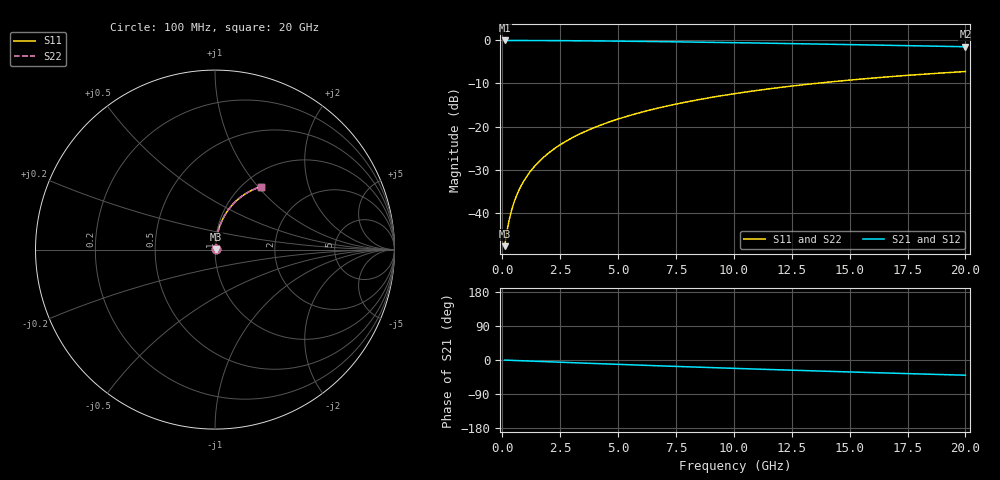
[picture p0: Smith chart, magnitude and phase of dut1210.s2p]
! Touchstone file exported from HFSS 2024.1.0
!  File:  C:/UserFiles/LocalFiles/RDL_TSV_Batchsim/temp_RDL_bottom_1210_1780243661.aedt
!  Generated:  12:10:35 AM Jun  1, 2026
!  Design:  RDL_bottom
!  Project:  temp_RDL_bottom_1210_1780243661
!  Setup:  Setup1
!  Solution:  Sweep
! Variables:
!  dtsv = 10.80580581um
!  hbump = 3um
!  htsv = 90.83um
!  ldown = 517.81um
!  lrdl = 100um
!  p = 40
!  p1 = 51.75um
!  rhole = 1um
!  t = 450um
!  tdown = 3.99um
!  trdl = 3.915915916um
!  wdown = 14.84um
!  wrdl = 20um
# GHz S MA R 50.000000
! Terminal data exported
! Port[1] = RDL1_T1
! Port[2] = RDL1_T2
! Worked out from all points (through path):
!   200 points, 100 MHz to 20 GHz, reference 50 ohm
!   highest |S21| = -0.03 dB at 100 MHz (marker M1); lowest = -1.5 dB at 20 GHz (marker M2)
!   group delay of S21, straight-line fit = 5.56 ps
!   lowest |S11| = -47.7 dB at 100 MHz (marker M3), VSWR 1.01, Z = 50.3 + j0.258 ohm
!   |S11| at or under -10 dB: start of sweep to 13.51 GHz
!   |S22| runs from -47.7 to -7.2 dB; largest |S21 - S12| = 3.5e-15
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0.1  0.004107 38.7  0.9968 -0.2  0.9968 -0.2  0.004107 38.7
! Gamma 0 0 0 0
! Port Impedance 50 0 50 0
0.2  0.006078 57.2  0.9967 -0.5  0.9967 -0.5  0.006078 57.2
0.3  0.008344 65.9  0.9966 -0.7  0.9966 -0.7  0.008344 65.9
0.4  0.01069 70.6  0.9964 -1.0  0.9964 -1.0  0.01069 70.6
0.5  0.01307 73.6  0.9963 -1.2  0.9963 -1.2  0.01307 73.6
0.6  0.01545 75.6  0.9962 -1.4  0.9962 -1.4  0.01545 75.6
0.8  0.02025 78.2  0.9959 -1.9  0.9959 -1.9  0.02025 78.2
1.1  0.02748 80.3  0.9954 -2.6  0.9954 -2.6  0.02748 80.3
1.5  0.03717 81.6  0.9946 -3.5  0.9946 -3.5  0.03717 81.6
1.8  0.04447 82.0  0.9938 -4.2  0.9938 -4.2  0.04447 82.0
2.1  0.05177 82.1  0.9929 -4.9  0.9929 -4.9  0.05177 82.1
2.7  0.0664 82.0  0.9908 -6.3  0.9908 -6.3  0.0664 82.0
3.5  0.0859 81.3  0.9873 -8.2  0.9873 -8.2  0.08591 81.3
4.2  0.1029 80.5  0.9837 -9.8  0.9837 -9.8  0.1029 80.5
5  0.1224 79.3  0.979 -11.5  0.979 -11.5  0.1224 79.3
5.9  0.1441 78.0  0.973 -13.5  0.973 -13.5  0.1441 78.0
6.8  0.1657 76.5  0.9664 -15.5  0.9664 -15.5  0.1657 76.5
8.3  0.2011 74.0  0.9545 -18.6  0.9545 -18.6  0.2011 74.0
10.1  0.2425 70.8  0.939 -22.3  0.939 -22.3  0.2425 70.8
13.4  0.3139 64.9  0.9082 -28.6  0.9082 -28.6  0.3139 64.9
16.7  0.3783 59.2  0.8757 -34.6  0.8757 -34.6  0.3783 59.2
20  0.4348 53.8  0.8428 -40.1  0.8428 -40.1  0.4349 53.8
